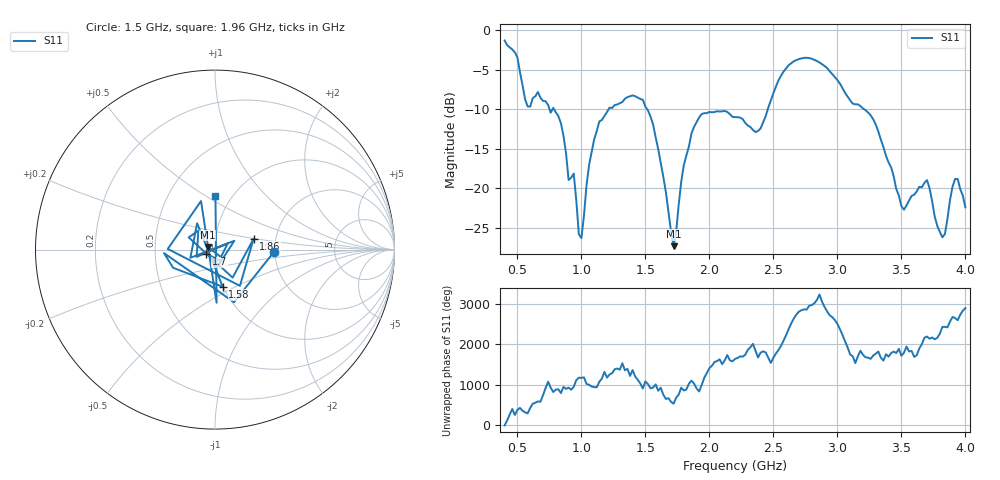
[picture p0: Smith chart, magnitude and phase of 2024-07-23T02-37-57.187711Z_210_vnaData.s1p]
!Created with skrf (http://scikit-rf.org).
# Hz S RI R 50.0
!freq ReS11 ImS11
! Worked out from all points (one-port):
!   181 points, 400 MHz to 4 GHz, reference 50 ohm
!   lowest |S11| = -27.3 dB at 1.72 GHz (marker M1), VSWR 1.09, Z = 46.1 + j1.36 ohm
!   |S11| at or under -10 dB: 787.3 MHz to 1.212 GHz (424.3 MHz wide, 42.5 % of centre); 1.515 GHz to 2.456 GHz (940.6 MHz wide, 47.4 % of centre); 3.212 GHz to end of sweep (the widest 3 of 4)
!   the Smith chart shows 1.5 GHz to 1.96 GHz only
!   S11 on the Smith chart (normalised r, x): 1.5 GHz: 1.98, -0.05; 1.58 GHz: 1.00, -0.43; 1.7 GHz: 0.91, -0.05; 1.86 GHz: 1.53, +0.19; 1.96 GHz: 0.84, +0.55
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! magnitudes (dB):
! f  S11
! 400 MHz  -1.3
! 500 MHz  -3.4
! 580 MHz  -9.6
! 660 MHz  -7.8
! 860 MHz  -13.3
! 900 MHz  -18.9
! 940 MHz  -18.1
! 1 GHz  -26.3
! 1.1 GHz  -13.8
! 1.3 GHz  -9.2
! 1.5 GHz  -9.6
! 1.58 GHz  -13.5
! 1.7 GHz  -25.4
! 1.72 GHz  -27.3
! 1.76 GHz  -22.1
! 1.86 GHz  -13.0
! 1.96 GHz  -10.5
! 2.2 GHz  -11.0
! 2.38 GHz  -12.7
! 2.66 GHz  -3.9
! 3.1 GHz  -8.8
! 3.28 GHz  -11.3
! 3.5 GHz  -22.2
! 3.56 GHz  -21.5
! 3.7 GHz  -18.9
! 3.82 GHz  -26.2
! 3.92 GHz  -18.8
! 4 GHz  -22.4
